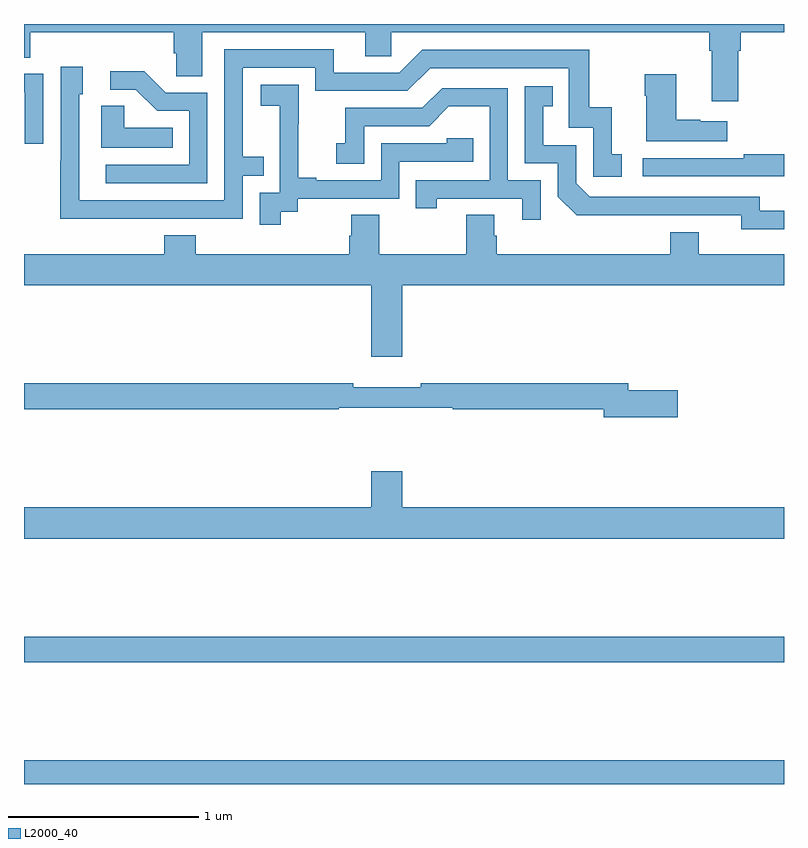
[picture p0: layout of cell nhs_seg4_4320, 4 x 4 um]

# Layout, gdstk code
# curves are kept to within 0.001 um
import gdstk
lib = gdstk.Library(unit=1e-6, precision=1e-09)
def R(c, l, rs):  # rectangles x0, y0, x1, y1
    for r in rs: c.add(gdstk.rectangle(r[:2], r[2:], *l))
def P(c, l, *ps):  # polygons
    for p in ps: c.add(gdstk.Polygon(p, *l))
L2000_40 = (2000, 40)

nhs_seg4_4320 = lib.new_cell('nhs_seg4_4320')
R(nhs_seg4_4320, L2000_40, [(343,756.9,347,757.024), (343,757.54,347,757.676)])
P(nhs_seg4_4320, L2000_40, [(346.759,760.76),(346.772,760.76),(346.772,760.856),(347,760.856),(347,760.9),(343,760.9),(343,760.723),(343.034,760.723),(343.034,760.856),(343.787,760.856),(343.787,760.747),(343.8,760.747),(343.8,760.624),(343.939,760.624),(343.939,760.856),(344.795,760.856),(344.795,760.729),(344.934,760.729),(344.934,760.856),(346.607,760.856),(346.607,760.76),(346.619,760.76),(346.619,760.494),(346.759,760.494)],
  [(343.655,759.876),(344.151,759.876),(344.151,760.101),(344.261,760.101),(344.261,760.202),(344.151,760.202),(344.151,760.671),(344.532,760.671),(344.532,760.548),(345.018,760.548),(345.138,760.668),(345.867,760.668),(345.867,760.353),(345.996,760.353),(345.996,760.095),(346.147,760.095),(346.147,760.215),(346.094,760.215),(346.094,760.462),(345.976,760.462),(345.976,760.764),(345.096,760.764),(344.976,760.644),(344.629,760.644),(344.629,760.767),(344.055,760.767),(344.055,759.972),(343.29,759.972),(343.29,760.53),(343.309,760.53),(343.309,760.675),(343.194,760.675),(343.194,760.181),(343.192,760.181),(343.192,759.875)],
  [(343.965,760.539),(343.746,760.539),(343.633,760.652),(343.455,760.652),(343.455,760.554),(343.589,760.554),(343.7,760.443),(343.869,760.443),(343.869,760.158),(343.431,760.158),(343.431,760.062),(343.965,760.062)],
  [(343.101,760.638),(343,760.638),(343,760.542),(343.005,760.542),(343.005,760.269),(343.101,760.269)],
  [(346.702,760.387),(346.559,760.387),(346.559,760.397),(346.432,760.397),(346.432,760.636),(346.267,760.636),(346.267,760.523),(346.274,760.523),(346.274,760.283),(346.702,760.283)],
  [(344.35,759.913),(344.442,759.913),(344.442,759.981),(344.976,759.981),(344.976,760.176),(345.365,760.176),(345.365,760.299),(345.225,760.299),(345.225,760.272),(344.88,760.272),(344.88,760.077),(344.539,760.077),(344.539,760.09),(344.444,760.09),(344.444,760.373),(344.445,760.373),(344.445,760.579),(344.247,760.579),(344.247,760.469),(344.345,760.469),(344.345,760.241),(344.346,760.241),(344.346,760.011),(344.241,760.011),(344.241,759.843),(344.35,759.843)],
  [(347,759.918),(346.872,759.918),(346.872,759.99),(345.978,759.99),(345.906,760.062),(345.906,760.263),(345.733,760.263),(345.733,760.467),(345.782,760.467),(345.782,760.573),(345.636,760.573),(345.636,760.167),(345.81,760.167),(345.81,759.99),(345.908,759.893),(346.776,759.894),(346.776,759.821),(347,759.821)],
  [(345.72,760.077),(345.546,760.077),(345.546,760.563),(345.2,760.563),(345.095,760.458),(344.692,760.458),(344.692,760.273),(344.643,760.273),(344.643,760.164),(344.79,760.164),(344.79,760.362),(345.132,760.362),(345.236,760.466),(345.45,760.466),(345.45,760.077),(345.061,760.077),(345.061,759.93),(345.172,759.93),(345.172,759.981),(345.623,759.981),(345.623,759.87),(345.72,759.87)],
  [(343.784,760.354),(343.527,760.354),(343.527,760.469),(343.406,760.469),(343.406,760.25),(343.784,760.25)],
  [(347,760.214),(346.789,760.214),(346.789,760.194),(346.257,760.194),(346.257,760.098),(347,760.098)],
  [(344.992,759.524),(347,759.524),(347,759.688),(346.552,759.688),(346.552,759.805),(346.4,759.805),(346.4,759.688),(345.488,759.688),(345.488,759.786),(345.475,759.786),(345.475,759.896),(345.328,759.896),(345.328,759.688),(344.871,759.688),(344.871,759.896),(344.723,759.896),(344.723,759.786),(344.711,759.786),(344.711,759.688),(343.904,759.688),(343.904,759.787),(343.739,759.787),(343.739,759.688),(343,759.688),(343,759.524),(344.828,759.524),(344.828,759.15),(344.992,759.15)],
  [(346.441,758.972),(346.18,758.972),(346.18,759.008),(345.088,759.008),(345.088,758.989),(344.732,758.989),(344.732,759.008),(343,759.008),(343,758.872),(344.656,758.872),(344.656,758.88),(345.256,758.88),(345.256,758.872),(346.052,758.872),(346.052,758.83),(346.441,758.83)],
  [(347,758.356),(344.992,758.356),(344.992,758.545),(344.828,758.545),(344.828,758.356),(343,758.356),(343,758.192),(347,758.192)])

lib.write_gds('nhs_seg4_4320.gds')
